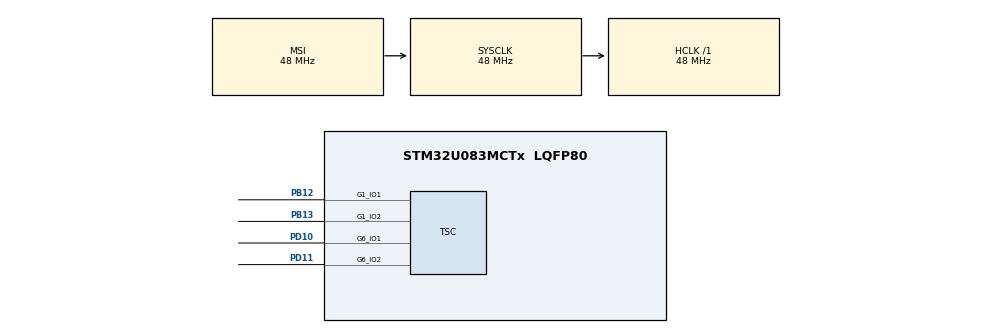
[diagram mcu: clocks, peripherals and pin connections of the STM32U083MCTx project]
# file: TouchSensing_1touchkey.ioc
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Mcu.Family=STM32U0
Mcu.Name=STM32U083MCTx
Mcu.Package=LQFP80
NVIC.PriorityGroup=NVIC_PRIORITYGROUP_2
NVIC.TSC_IRQn=true\:0\:0\:false\:false\:true\:true\:true\:true
PB12.Mode=G1_IO1-Shield
PB12.Signal=TSC_G1_IO1
PB13.Mode=G1_IO2-Sampling
PB13.Signal=TSC_G1_IO2
PD10.Mode=G6_IO1-Sampling
PD10.Signal=TSC_G6_IO1
PD11.Mode=G6_IO2-Channel
PD11.Signal=TSC_G6_IO2
ProjectManager.HeapSize=0x200
ProjectManager.StackSize=0x400
ProjectManager.TargetToolchain=EWARM V9.20
RCC.ADCFreq_Value=48000000
RCC.AHBFreq_Value=48000000
RCC.CortexFreq_Value=48000000
RCC.HCLKFreq_Value=48000000
RCC.HSE_VALUE=4000000
RCC.HSI48_VALUE=48000000
RCC.HSI_VALUE=16000000
RCC.LSE_VALUE=32768
RCC.MSIClockRangeVal=RCC_MSIRANGE_11
RCC.MSI_VALUE=48000000
RCC.PLLSourceVirtual=RCC_PLLSOURCE_MSI
RCC.SYSCLKFreq_VALUE=48000000
RCC.SYSCLKSource=RCC_SYSCLKSOURCE_MSI
RCC.USBFreq_Value=48000000
RCC.VCOOutputFreq_Value=192000000
TOUCHSENSING.IO_TOUCHKEY1=G6_IO2
TOUCHSENSING.IO_TOUCHKEY1-TouchSensing_Enabled=G6_IO2
TOUCHSENSING.TSLPRM_ACQ_MIN=5
TOUCHSENSING.TSLPRM_SENSORS_DATAS=TSLPRM_TOTAL_TOUCHKEYS 1 1 
TOUCHSENSING.TSLPRM_TKEY_CALIB_TH=90
TOUCHSENSING.TSLPRM_TKEY_DETECT_IN_TH=255
TOUCHSENSING.TSLPRM_TKEY_DETECT_OUT_TH=200
TOUCHSENSING.TSLPRM_TOTAL_TOUCHKEYS=1
TOUCHSENSING.TSLPRM_USE_PROX=0
TSC.CTPulseHighLength=TSC_CTPH_6CYCLES
TSC.CTPulseLowLength=TSC_CTPL_6CYCLES
TSC.ChannelIOs-G6_IO2=TSC_GROUP6_IO2
TSC.MaxCountValue=TSC_MCV_16383
TSC.PulseGeneratorPrescaler=TSC_PG_PRESC_DIV4
TSC.SamplingIOs-G1_IO2=TSC_GROUP1_IO2
TSC.SamplingIOs-G6_IO1=TSC_GROUP6_IO1
TSC.ShieldIOs-G1_IO1=TSC_GROUP1_IO1
TSC.SpreadSpectrum=DISABLE
VP_PWR_VS_SECSignals.Mode=Security/Privilege
VP_TOUCHSENSING_VS_TOUCHSENSING.Mode=TouchSensing_Enabled
board=custom

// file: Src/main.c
/* USER CODE BEGIN Header */
/**
  ******************************************************************************
  * @file           : main.c
  * @brief          : Main program body
  ******************************************************************************
  * @attention
  *
  * Copyright (c) 2024 STMicroelectronics.
  * All rights reserved.
  *
  * This software is licensed under terms that can be found in the LICENSE file
  * in the root directory of this software component.
  * If no LICENSE file comes with this software, it is provided AS-IS.
  *
  ******************************************************************************
  */
/* USER CODE END Header */
#include "main.h"
#include "touchsensing.h"

/* USER CODE BEGIN Includes */
#include "tsl.h"
#include "stm32u083c_discovery.h"
#include "stm32u083c_discovery_glass_lcd.h"

/* USER CODE END Includes */

/* USER CODE BEGIN PD */
/* Select to use or not the LCD (0=No, 1=Yes) */
#define USE_LCD (1)
/* USER CODE END PD */

TSC_HandleTypeDef htsc;

void SystemClock_Config(void);
static void MX_GPIO_Init(void);
static void MX_TSC_Init(void);
/* USER CODE BEGIN PFP */

void Process_Sensors(tsl_user_status_t status);
/* USER CODE END PFP */

int main(void)
{

  /* USER CODE BEGIN 1 */
  tsl_user_status_t tsl_status;

  /* USER CODE END 1 */

  /* MCU Configuration--------------------------------------------------------*/

  /* Reset of all peripherals, Initializes the Flash interface and the Systick. */
  HAL_Init();

  /* Configure the system clock */
  SystemClock_Config();

  /* Initialize all configured peripherals */
  MX_GPIO_Init();
  MX_TSC_Init();
  MX_TOUCHSENSING_Init();
  /* USER CODE BEGIN 2 */

  /* LEDs Initialisation */
  BSP_LED_Init(LED3);
  BSP_LED_Init(LED4);
  BSP_LED_Init(LED5);

  /* Just to indicate the fw is alive... */
  BSP_LED_On(LED3);
  BSP_LED_On(LED4);
  BSP_LED_On(LED5);

  /* Configure LCD */
#if USE_LCD > 0
  BSP_LCD_GLASS_Init();

  BSP_LCD_GLASS_Clear();
  BSP_LCD_GLASS_ScrollSentence((uint8_t *)" STM32U083xx  ", 1, SCROLL_SPEED_MEDIUM);
  BSP_LCD_GLASS_ScrollSentence((uint8_t *)" TouchSensing  ", 1, SCROLL_SPEED_MEDIUM);
  BSP_LCD_GLASS_ScrollSentence((uint8_t *)" Application  ",  1, SCROLL_SPEED_MEDIUM);
#endif

  BSP_LED_Off(LED3);
  BSP_LED_Off(LED4);
  BSP_LED_Off(LED5);

  /* Initialize the STMTouch driver */
  tsl_user_Init();
  /* USER CODE END 2 */

  /* Infinite loop */
  /* USER CODE BEGIN WHILE */
  while (1)
  {
    /* Execute STMTouch Driver state machine */
    tsl_status = tsl_user_Exec();
    if (tsl_status != TSL_USER_STATUS_BUSY)
    {
      Process_Sensors(tsl_status);

      /* Add a delay of 10 ms, for efficiency of the debounce to prevent false detection,
         for example during FTP (Fast Transient Burst) */
      HAL_Delay(10);
    }
    /* USER CODE END WHILE */

  }
}

void SystemClock_Config(void)
{
  RCC_OscInitTypeDef RCC_OscInitStruct = {0};
  RCC_ClkInitTypeDef RCC_ClkInitStruct = {0};

  /** Configure the main internal regulator output voltage
  */
  HAL_PWREx_ControlVoltageScaling(PWR_REGULATOR_VOLTAGE_SCALE1);

  /** Initializes the RCC Oscillators according to the specified parameters
  * in the RCC_OscInitTypeDef structure.
  */
  RCC_OscInitStruct.OscillatorType = RCC_OSCILLATORTYPE_MSI;
  RCC_OscInitStruct.MSIState = RCC_MSI_ON;
  RCC_OscInitStruct.MSICalibrationValue = RCC_MSICALIBRATION_DEFAULT;
  RCC_OscInitStruct.MSIClockRange = RCC_MSIRANGE_11;
  RCC_OscInitStruct.PLL.PLLState = RCC_PLL_NONE;
  if (HAL_RCC_OscConfig(&RCC_OscInitStruct) != HAL_OK)
  {
    Error_Handler();
  }

  /** Initializes the CPU, AHB and APB buses clocks
  */
  RCC_ClkInitStruct.ClockType = RCC_CLOCKTYPE_HCLK|RCC_CLOCKTYPE_SYSCLK
                              |RCC_CLOCKTYPE_PCLK1;
  RCC_ClkInitStruct.SYSCLKSource = RCC_SYSCLKSOURCE_MSI;
  RCC_ClkInitStruct.AHBCLKDivider = RCC_SYSCLK_DIV1;
  RCC_ClkInitStruct.APB1CLKDivider = RCC_HCLK_DIV1;

  if (HAL_RCC_ClockConfig(&RCC_ClkInitStruct, FLASH_LATENCY_1) != HAL_OK)
  {
    Error_Handler();
  }
}

static void MX_TSC_Init(void)
{

  /** Configure the TSC peripheral
  */
  htsc.Instance = TSC;
  htsc.Init.CTPulseHighLength = TSC_CTPH_6CYCLES;
  htsc.Init.CTPulseLowLength = TSC_CTPL_6CYCLES;
  htsc.Init.SpreadSpectrum = DISABLE;
  htsc.Init.SpreadSpectrumDeviation = 1;
  htsc.Init.SpreadSpectrumPrescaler = TSC_SS_PRESC_DIV1;
  htsc.Init.PulseGeneratorPrescaler = TSC_PG_PRESC_DIV4;
  htsc.Init.MaxCountValue = TSC_MCV_16383;
  htsc.Init.IODefaultMode = TSC_IODEF_OUT_PP_LOW;
  htsc.Init.SynchroPinPolarity = TSC_SYNC_POLARITY_FALLING;
  htsc.Init.AcquisitionMode = TSC_ACQ_MODE_NORMAL;
  htsc.Init.MaxCountInterrupt = DISABLE;
  htsc.Init.ShieldIOs = TSC_GROUP1_IO1;
  htsc.Init.ChannelIOs = TSC_GROUP6_IO2;
  htsc.Init.SamplingIOs = TSC_GROUP1_IO2|TSC_GROUP6_IO1;
  if (HAL_TSC_Init(&htsc) != HAL_OK)
  {
    Error_Handler();
  }
  HAL_SYSCFG_DisableTSCComparatorMode();

}

static void MX_GPIO_Init(void)
{

  /* GPIO Ports Clock Enable */
  __HAL_RCC_GPIOB_CLK_ENABLE();
  __HAL_RCC_GPIOD_CLK_ENABLE();

}

/* USER CODE BEGIN 4 */

/**
  * @brief  Display sensors information on LEDs and LCD
  * @param  status TSL user status
  * @retval None
  */
void Process_Sensors(tsl_user_status_t status)
{
  /* LED4 is ON when TS1 on board is touched */
  if (MyTKeys[0].p_Data->StateId == TSL_STATEID_DETECT)
  {
    BSP_LED_On(LED4);
#if USE_LCD > 0
    BSP_LCD_GLASS_DisplayString((uint8_t *)"DETECT");
#endif
  }
  else
  {
    BSP_LED_Off(LED4);
#if USE_LCD > 0
    BSP_LCD_GLASS_DisplayString((uint8_t *)"RELEASE");
#endif
  }

  /* ECS information */
  switch (status)
  {
    case TSL_USER_STATUS_OK_ECS_OFF:
      BSP_LED_Off(LED3);
      break;
    case TSL_USER_STATUS_OK_ECS_ON:
      BSP_LED_Toggle(LED3);
      break;
    default:
      break;
  }
}

/* USER CODE END 4 */

void Error_Handler(void)
{
  /* USER CODE BEGIN Error_Handler_Debug */
  /* User can add his own implementation to report the HAL error return state */
  while (1)
  {
    BSP_LED_Toggle(LED5);
    HAL_Delay(200);
  }
  /* USER CODE END Error_Handler_Debug */
}
